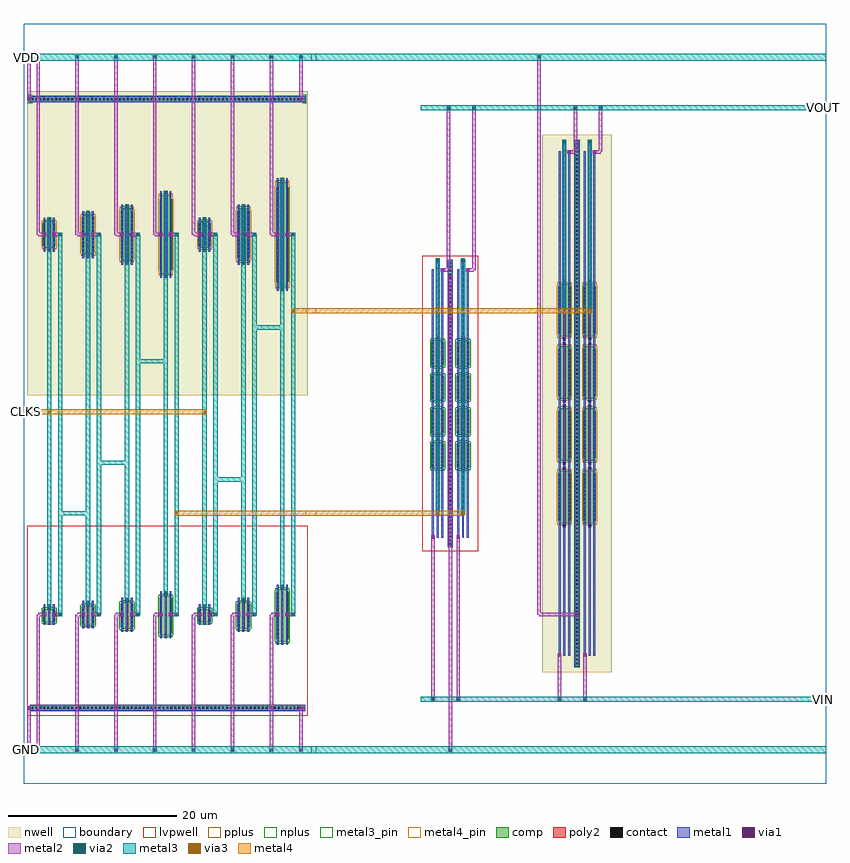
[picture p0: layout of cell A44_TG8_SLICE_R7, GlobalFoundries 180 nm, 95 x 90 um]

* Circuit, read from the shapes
.subckt A44_TG8_SLICE_R7 CLKS GND VDD VIN VOUT
XM1 A44_TG8_CLOCK_LEAF_R7_0/net1 CLKS GND GND nfet_03v3 w=1.56u l=0.28u
XM2 A44_TG8_CLOCK_LEAF_R7_0/net2 A44_TG8_CLOCK_LEAF_R7_0/net1 GND GND nfet_03v3 w=2.34u l=0.28u
XM3 A44_TG8_CLOCK_LEAF_R7_0/net3 A44_TG8_CLOCK_LEAF_R7_0/net2 GND GND nfet_03v3 w=3.11u l=0.28u
XM4 A44_TG8_CLOCK_LEAF_R7_0/N_CLK A44_TG8_CLOCK_LEAF_R7_0/net3 GND GND nfet_03v3 w=4.67u l=0.28u
XM5 A44_TG8_CLOCK_LEAF_R7_0/net4 CLKS GND GND nfet_03v3 w=1.56u l=0.28u
XM6 A44_TG8_CLOCK_LEAF_R7_0/net5 A44_TG8_CLOCK_LEAF_R7_0/net4 GND GND nfet_03v3 w=3.11u l=0.28u
XM7 A44_TG8_CLOCK_LEAF_R7_0/P_CLK A44_TG8_CLOCK_LEAF_R7_0/net5 GND GND nfet_03v3 w=6.22u l=0.28u
XM8 VOUT A44_TG8_CLOCK_LEAF_R7_0/N_CLK VIN GND nfet_03v3 w=3.11u l=0.28u m=8
XM9 A44_TG8_CLOCK_LEAF_R7_0/net1 CLKS VDD VDD pfet_03v3 w=3.11u l=0.28u
XM10 A44_TG8_CLOCK_LEAF_R7_0/net2 A44_TG8_CLOCK_LEAF_R7_0/net1 VDD VDD pfet_03v3 w=4.67u l=0.28u
XM11 A44_TG8_CLOCK_LEAF_R7_0/net3 A44_TG8_CLOCK_LEAF_R7_0/net2 VDD VDD pfet_03v3 w=6.22u l=0.28u
XM12 A44_TG8_CLOCK_LEAF_R7_0/N_CLK A44_TG8_CLOCK_LEAF_R7_0/net3 VDD VDD pfet_03v3 w=9.33u l=0.28u
XM13 A44_TG8_CLOCK_LEAF_R7_0/net4 CLKS VDD VDD pfet_03v3 w=3.11u l=0.28u
XM14 A44_TG8_CLOCK_LEAF_R7_0/net5 A44_TG8_CLOCK_LEAF_R7_0/net4 VDD VDD pfet_03v3 w=6.22u l=0.28u
XM15 A44_TG8_CLOCK_LEAF_R7_0/P_CLK A44_TG8_CLOCK_LEAF_R7_0/net5 VDD VDD pfet_03v3 w=12.44u l=0.28u
XM16 VOUT A44_TG8_CLOCK_LEAF_R7_0/P_CLK VIN VDD pfet_03v3 w=6.22u l=0.28u m=8
.ends

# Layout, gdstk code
import gdstk
lib = gdstk.Library(unit=1e-6, precision=1e-09)
def R(c, l, rs):  # rectangles x0, y0, x1, y1
    for r in rs: c.add(gdstk.rectangle(r[:2], r[2:], *l))
def A(c, l, x, y, w, h, nx, ny, dx, dy):  # array of equal rectangles
    R(c, l, [(x+i*dx, y+j*dy, x+i*dx+w, y+j*dy+h) for i in range(nx) for j in range(ny)])
boundary = (0, 0)
nwell = (21, 0)
comp = (22, 0)
poly2 = (30, 0)
pplus = (31, 0)
nplus = (32, 0)
contact = (33, 0)
metal1 = (34, 0)
via1 = (35, 0)
metal2 = (36, 0)
via2 = (38, 0)
via3 = (40, 0)
metal3 = (42, 0)
metal3_pin = (42, 10)
metal4 = (46, 0)
metal4_pin = (46, 10)
lvpwell = (204, 0)

nfet_03v3_e6gd2a = lib.new_cell('nfet_03v3_E6GD2A')
R(nfet_03v3_e6gd2a, comp, [(-0.675,-0.9,0.675,-0.83), (-0.74,-0.83,0.74,0.59), (-0.675,0.59,0.675,0.66)])
R(nfet_03v3_e6gd2a, poly2, [(-0.14,-1.12,0.14,0.76), (-0.18,0.76,0.18,1.12)])
R(nfet_03v3_e6gd2a, nplus, [(-0.37,-1.13,0.37,-1.06), (-0.835,-1.06,0.835,-0.99), (-0.9,-0.99,0.9,0.75), (-0.835,0.75,0.835,0.82), (-0.37,0.82,0.37,0.89)])
A(nfet_03v3_e6gd2a, contact, -0.67, -0.7, 0.22, 0.22, 1, 3, 0, 0.47)
A(nfet_03v3_e6gd2a, contact, 0.45, -0.7, 0.22, 0.22, 1, 3, 0, 0.47)
R(nfet_03v3_e6gd2a, contact, [(-0.11,0.83,0.11,1.05)])
R(nfet_03v3_e6gd2a, metal1, [(-0.675,-0.82,-0.445,0.58), (0.445,-0.82,0.675,0.58), (-0.17,0.825,0.17,1.055)])
R(nfet_03v3_e6gd2a, lvpwell, [(-0.86,-1.24,0.86,1.24)])

nfet_03v3_vfkxem = lib.new_cell('nfet_03v3_VFKXEM')
R(nfet_03v3_vfkxem, comp, [(-0.675,-1.675,0.675,-1.525), (-0.74,-1.525,0.74,1.285), (-0.675,1.285,0.675,1.435)])
R(nfet_03v3_vfkxem, poly2, [(-0.14,-1.895,0.14,1.535), (-0.18,1.535,0.18,1.895)])
R(nfet_03v3_vfkxem, nplus, [(-0.37,-1.905,0.37,-1.835), (-0.835,-1.835,0.835,-1.685), (-0.9,-1.685,0.9,1.445), (-0.835,1.445,0.835,1.595), (-0.37,1.595,0.37,1.665)])
A(nfet_03v3_vfkxem, contact, -0.67, -1.405, 0.22, 0.22, 1, 6, 0, 0.47)
A(nfet_03v3_vfkxem, contact, 0.45, -1.405, 0.22, 0.22, 1, 6, 0, 0.47)
R(nfet_03v3_vfkxem, contact, [(-0.11,1.605,0.11,1.825)])
R(nfet_03v3_vfkxem, metal1, [(-0.675,-1.515,-0.445,1.275), (0.445,-1.515,0.675,1.275), (-0.17,1.6,0.17,1.83)])
R(nfet_03v3_vfkxem, lvpwell, [(-0.86,-2.015,0.86,2.015)])

nfet_03v3_6lx9qf = lib.new_cell('nfet_03v3_6LX9QF')
R(nfet_03v3_6lx9qf, comp, [(-0.675,-3.23,0.675,-2.925), (-0.675,-3.23,0.675,-2.925), (-0.74,-2.925,0.74,2.685), (-0.74,-2.925,0.74,2.685), (-0.675,2.685,0.675,2.99), (-0.675,2.685,0.675,2.99)])
R(nfet_03v3_6lx9qf, poly2, [(-0.14,-3.45,0.14,3.09), (-0.14,-3.45,0.14,3.09), (-0.18,3.09,0.18,3.45), (-0.18,3.09,0.18,3.45)])
R(nfet_03v3_6lx9qf, nplus, [(-0.37,-3.46,0.37,-3.39), (-0.37,-3.46,0.37,-3.39), (-0.835,-3.39,0.835,-3.085), (-0.835,-3.39,0.835,-3.085), (-0.9,-3.085,0.9,2.845), (-0.9,-3.085,0.9,2.845), (-0.835,2.845,0.835,3.15), (-0.835,2.845,0.835,3.15), (-0.37,3.15,0.37,3.22), (-0.37,3.15,0.37,3.22)])
R(nfet_03v3_6lx9qf, contact, [(-0.67,-2.815,-0.45,-2.595), (-0.67,-2.815,-0.45,-2.595), (0.45,-2.815,0.67,-2.595), (0.45,-2.815,0.67,-2.595), (-0.67,-2.345,-0.45,-2.125), (-0.67,-2.345,-0.45,-2.125), (0.45,-2.345,0.67,-2.125), (0.45,-2.345,0.67,-2.125), (-0.67,-1.875,-0.45,-1.655), (-0.67,-1.875,-0.45,-1.655), (0.45,-1.875,0.67,-1.655), (0.45,-1.875,0.67,-1.655), (-0.67,-1.405,-0.45,-1.185), (-0.67,-1.405,-0.45,-1.185), (0.45,-1.405,0.67,-1.185), (0.45,-1.405,0.67,-1.185), (-0.67,-0.935,-0.45,-0.715), (-0.67,-0.935,-0.45,-0.715), (0.45,-0.935,0.67,-0.715), (0.45,-0.935,0.67,-0.715), (-0.67,-0.465,-0.45,-0.245), (-0.67,-0.465,-0.45,-0.245), (0.45,-0.465,0.67,-0.245), (0.45,-0.465,0.67,-0.245), (-0.67,0.005,-0.45,0.225), (-0.67,0.005,-0.45,0.225), (0.45,0.005,0.67,0.225), (0.45,0.005,0.67,0.225), (-0.67,0.475,-0.45,0.695), (-0.67,0.475,-0.45,0.695), (0.45,0.475,0.67,0.695), (0.45,0.475,0.67,0.695), (-0.67,0.945,-0.45,1.165), (-0.67,0.945,-0.45,1.165), (0.45,0.945,0.67,1.165), (0.45,0.945,0.67,1.165), (-0.67,1.415,-0.45,1.635), (-0.67,1.415,-0.45,1.635), (0.45,1.415,0.67,1.635), (0.45,1.415,0.67,1.635), (-0.67,1.885,-0.45,2.105), (-0.67,1.885,-0.45,2.105), (0.45,1.885,0.67,2.105), (0.45,1.885,0.67,2.105), (-0.67,2.355,-0.45,2.575), (-0.67,2.355,-0.45,2.575), (0.45,2.355,0.67,2.575), (0.45,2.355,0.67,2.575), (-0.11,3.16,0.11,3.38), (-0.11,3.16,0.11,3.38)])
R(nfet_03v3_6lx9qf, metal1, [(-0.675,-2.915,-0.445,2.675), (-0.675,-2.915,-0.445,2.675), (0.445,-2.915,0.675,2.675), (0.445,-2.915,0.675,2.675), (-0.17,3.155,0.17,3.385), (-0.17,3.155,0.17,3.385)])
R(nfet_03v3_6lx9qf, lvpwell, [(-0.86,-3.57,0.86,3.57), (-0.86,-3.57,0.86,3.57)])

nfet_03v3_w4ua4g = lib.new_cell('nfet_03v3_W4UA4G')
R(nfet_03v3_w4ua4g, comp, [(-0.675,-2.455,0.675,-2.23), (-0.74,-2.23,0.74,1.99), (-0.675,1.99,0.675,2.215)])
R(nfet_03v3_w4ua4g, poly2, [(-0.14,-2.675,0.14,2.315), (-0.18,2.315,0.18,2.675)])
R(nfet_03v3_w4ua4g, nplus, [(-0.37,-2.685,0.37,-2.615), (-0.835,-2.615,0.835,-2.39), (-0.9,-2.39,0.9,2.15), (-0.835,2.15,0.835,2.375), (-0.37,2.375,0.37,2.445)])
A(nfet_03v3_w4ua4g, contact, -0.67, -2.11, 0.22, 0.22, 1, 9, 0, 0.47)
A(nfet_03v3_w4ua4g, contact, 0.45, -2.11, 0.22, 0.22, 1, 9, 0, 0.47)
R(nfet_03v3_w4ua4g, contact, [(-0.11,2.385,0.11,2.605)])
R(nfet_03v3_w4ua4g, metal1, [(-0.675,-2.22,-0.445,1.98), (0.445,-2.22,0.675,1.98), (-0.17,2.38,0.17,2.61)])
R(nfet_03v3_w4ua4g, lvpwell, [(-0.86,-2.795,0.86,2.795)])

nfet_03v3_whe5hu = lib.new_cell('nfet_03v3_WHE5HU')
R(nfet_03v3_whe5hu, comp, [(-0.675,-1.29,0.675,-1.18), (-0.675,-1.29,0.675,-1.18), (-0.74,-1.18,0.74,0.94), (-0.74,-1.18,0.74,0.94), (-0.675,0.94,0.675,1.05), (-0.675,0.94,0.675,1.05)])
R(nfet_03v3_whe5hu, poly2, [(-0.14,-1.51,0.14,1.15), (-0.14,-1.51,0.14,1.15), (-0.18,1.15,0.18,1.51), (-0.18,1.15,0.18,1.51)])
R(nfet_03v3_whe5hu, nplus, [(-0.37,-1.52,0.37,-1.45), (-0.37,-1.52,0.37,-1.45), (-0.835,-1.45,0.835,-1.34), (-0.835,-1.45,0.835,-1.34), (-0.9,-1.34,0.9,1.1), (-0.9,-1.34,0.9,1.1), (-0.835,1.1,0.835,1.21), (-0.835,1.1,0.835,1.21), (-0.37,1.21,0.37,1.28), (-0.37,1.21,0.37,1.28)])
R(nfet_03v3_whe5hu, contact, [(-0.67,-0.935,-0.45,-0.715), (-0.67,-0.935,-0.45,-0.715), (0.45,-0.935,0.67,-0.715), (0.45,-0.935,0.67,-0.715), (-0.67,-0.465,-0.45,-0.245), (-0.67,-0.465,-0.45,-0.245), (0.45,-0.465,0.67,-0.245), (0.45,-0.465,0.67,-0.245), (-0.67,0.005,-0.45,0.225), (-0.67,0.005,-0.45,0.225), (0.45,0.005,0.67,0.225), (0.45,0.005,0.67,0.225), (-0.67,0.475,-0.45,0.695), (-0.67,0.475,-0.45,0.695), (0.45,0.475,0.67,0.695), (0.45,0.475,0.67,0.695), (-0.11,1.22,0.11,1.44), (-0.11,1.22,0.11,1.44)])
R(nfet_03v3_whe5hu, metal1, [(-0.675,-1.17,-0.445,0.93), (-0.675,-1.17,-0.445,0.93), (0.445,-1.17,0.675,0.93), (0.445,-1.17,0.675,0.93), (-0.17,1.215,0.17,1.445), (-0.17,1.215,0.17,1.445)])
R(nfet_03v3_whe5hu, lvpwell, [(-0.86,-1.63,0.86,1.63), (-0.86,-1.63,0.86,1.63)])

pfet_03v3_8rs7kv = lib.new_cell('pfet_03v3_8RS7KV')
R(pfet_03v3_8rs7kv, nwell, [(-1.17,-7.11,1.17,7.11), (-1.17,-7.11,1.17,7.11)])
R(pfet_03v3_8rs7kv, comp, [(-0.675,-6.22,0.675,-5.605), (-0.675,-6.22,0.675,-5.605), (-0.74,-5.605,0.74,5.605), (-0.74,-5.605,0.74,5.605), (-0.675,5.605,0.675,6.22), (-0.675,5.605,0.675,6.22)])
R(pfet_03v3_8rs7kv, poly2, [(-0.18,-6.68,0.18,-6.32), (-0.18,-6.68,0.18,-6.32), (-0.14,-6.32,0.14,6.32), (-0.14,-6.32,0.14,6.32), (-0.18,6.32,0.18,6.68), (-0.18,6.32,0.18,6.68)])
R(pfet_03v3_8rs7kv, pplus, [(-0.37,-6.45,0.37,-6.38), (-0.37,-6.45,0.37,-6.38), (-0.835,-6.38,0.835,-5.765), (-0.835,-6.38,0.835,-5.765), (-0.9,-5.765,0.9,5.765), (-0.9,-5.765,0.9,5.765), (-0.835,5.765,0.835,6.38), (-0.835,5.765,0.835,6.38), (-0.37,6.38,0.37,6.45), (-0.37,6.38,0.37,6.45)])
R(pfet_03v3_8rs7kv, contact, [(-0.11,-6.61,0.11,-6.39), (-0.11,-6.61,0.11,-6.39), (-0.67,-5.515,-0.45,-5.295), (-0.67,-5.515,-0.45,-5.295), (0.45,-5.515,0.67,-5.295), (0.45,-5.515,0.67,-5.295), (-0.67,-5.045,-0.45,-4.825), (-0.67,-5.045,-0.45,-4.825), (0.45,-5.045,0.67,-4.825), (0.45,-5.045,0.67,-4.825), (-0.67,-4.575,-0.45,-4.355), (-0.67,-4.575,-0.45,-4.355), (0.45,-4.575,0.67,-4.355), (0.45,-4.575,0.67,-4.355), (-0.67,-4.105,-0.45,-3.885), (-0.67,-4.105,-0.45,-3.885), (0.45,-4.105,0.67,-3.885), (0.45,-4.105,0.67,-3.885), (-0.67,-3.635,-0.45,-3.415), (-0.67,-3.635,-0.45,-3.415), (0.45,-3.635,0.67,-3.415), (0.45,-3.635,0.67,-3.415), (-0.67,-3.165,-0.45,-2.945), (-0.67,-3.165,-0.45,-2.945), (0.45,-3.165,0.67,-2.945), (0.45,-3.165,0.67,-2.945), (-0.67,-2.695,-0.45,-2.475), (-0.67,-2.695,-0.45,-2.475), (0.45,-2.695,0.67,-2.475), (0.45,-2.695,0.67,-2.475), (-0.67,-2.225,-0.45,-2.005), (-0.67,-2.225,-0.45,-2.005), (0.45,-2.225,0.67,-2.005), (0.45,-2.225,0.67,-2.005), (-0.67,-1.755,-0.45,-1.535), (-0.67,-1.755,-0.45,-1.535), (0.45,-1.755,0.67,-1.535), (0.45,-1.755,0.67,-1.535), (-0.67,-1.285,-0.45,-1.065), (-0.67,-1.285,-0.45,-1.065), (0.45,-1.285,0.67,-1.065), (0.45,-1.285,0.67,-1.065), (-0.67,-0.815,-0.45,-0.595), (-0.67,-0.815,-0.45,-0.595), (0.45,-0.815,0.67,-0.595), (0.45,-0.815,0.67,-0.595), (-0.67,-0.345,-0.45,-0.125), (-0.67,-0.345,-0.45,-0.125), (0.45,-0.345,0.67,-0.125), (0.45,-0.345,0.67,-0.125), (-0.67,0.125,-0.45,0.345), (-0.67,0.125,-0.45,0.345), (0.45,0.125,0.67,0.345), (0.45,0.125,0.67,0.345), (-0.67,0.595,-0.45,0.815), (-0.67,0.595,-0.45,0.815), (0.45,0.595,0.67,0.815), (0.45,0.595,0.67,0.815), (-0.67,1.065,-0.45,1.285), (-0.67,1.065,-0.45,1.285), (0.45,1.065,0.67,1.285), (0.45,1.065,0.67,1.285), (-0.67,1.535,-0.45,1.755), (-0.67,1.535,-0.45,1.755), (0.45,1.535,0.67,1.755), (0.45,1.535,0.67,1.755), (-0.67,2.005,-0.45,2.225), (-0.67,2.005,-0.45,2.225), (0.45,2.005,0.67,2.225), (0.45,2.005,0.67,2.225), (-0.67,2.475,-0.45,2.695), (-0.67,2.475,-0.45,2.695), (0.45,2.475,0.67,2.695), (0.45,2.475,0.67,2.695), (-0.67,2.945,-0.45,3.165), (-0.67,2.945,-0.45,3.165), (0.45,2.945,0.67,3.165), (0.45,2.945,0.67,3.165), (-0.67,3.415,-0.45,3.635), (-0.67,3.415,-0.45,3.635), (0.45,3.415,0.67,3.635), (0.45,3.415,0.67,3.635), (-0.67,3.885,-0.45,4.105), (-0.67,3.885,-0.45,4.105), (0.45,3.885,0.67,4.105), (0.45,3.885,0.67,4.105), (-0.67,4.355,-0.45,4.575), (-0.67,4.355,-0.45,4.575), (0.45,4.355,0.67,4.575), (0.45,4.355,0.67,4.575), (-0.67,4.825,-0.45,5.045), (-0.67,4.825,-0.45,5.045), (0.45,4.825,0.67,5.045), (0.45,4.825,0.67,5.045), (-0.67,5.295,-0.45,5.515), (-0.67,5.295,-0.45,5.515), (0.45,5.295,0.67,5.515), (0.45,5.295,0.67,5.515), (-0.11,6.39,0.11,6.61), (-0.11,6.39,0.11,6.61)])
R(pfet_03v3_8rs7kv, metal1, [(-0.17,-6.615,0.17,-6.385), (-0.17,-6.615,0.17,-6.385), (-0.675,-5.595,-0.445,5.595), (-0.675,-5.595,-0.445,5.595), (0.445,-5.595,0.675,5.595), (0.445,-5.595,0.675,5.595), (-0.17,6.385,0.17,6.615), (-0.17,6.385,0.17,6.615)])

pfet_03v3_ru7dmy = lib.new_cell('pfet_03v3_RU7DMY')
R(pfet_03v3_ru7dmy, nwell, [(-1.17,-2.445,1.17,2.445)])
R(pfet_03v3_ru7dmy, comp, [(-0.675,-1.555,0.675,-1.405), (-0.74,-1.405,0.74,1.405), (-0.675,1.405,0.675,1.555)])
R(pfet_03v3_ru7dmy, poly2, [(-0.18,-2.015,0.18,-1.655), (-0.14,-1.655,0.14,1.655), (-0.18,1.655,0.18,2.015)])
R(pfet_03v3_ru7dmy, pplus, [(-0.37,-1.785,0.37,-1.715), (-0.835,-1.715,0.835,-1.565), (-0.9,-1.565,0.9,1.565), (-0.835,1.565,0.835,1.715), (-0.37,1.715,0.37,1.785)])
A(pfet_03v3_ru7dmy, contact, -0.67, -1.285, 0.22, 0.22, 1, 6, 0, 0.47)
A(pfet_03v3_ru7dmy, contact, 0.45, -1.285, 0.22, 0.22, 1, 6, 0, 0.47)
R(pfet_03v3_ru7dmy, contact, [(-0.11,-1.945,0.11,-1.725), (-0.11,1.725,0.11,1.945)])
R(pfet_03v3_ru7dmy, metal1, [(-0.17,-1.95,0.17,-1.72), (-0.675,-1.395,-0.445,1.395), (0.445,-1.395,0.675,1.395), (-0.17,1.72,0.17,1.95)])

pfet_03v3_9zjpmw = lib.new_cell('pfet_03v3_9ZJPMW')
R(pfet_03v3_9zjpmw, nwell, [(-1.17,-4,1.17,4)])
R(pfet_03v3_9zjpmw, comp, [(-0.675,-3.11,0.675,-2.805), (-0.74,-2.805,0.74,2.805), (-0.675,2.805,0.675,3.11)])
R(pfet_03v3_9zjpmw, poly2, [(-0.18,-3.57,0.18,-3.21), (-0.14,-3.21,0.14,3.21), (-0.18,3.21,0.18,3.57)])
R(pfet_03v3_9zjpmw, pplus, [(-0.37,-3.34,0.37,-3.27), (-0.835,-3.27,0.835,-2.965), (-0.9,-2.965,0.9,2.965), (-0.835,2.965,0.835,3.27), (-0.37,3.27,0.37,3.34)])
A(pfet_03v3_9zjpmw, contact, -0.67, -2.695, 0.22, 0.22, 1, 12, 0, 0.47)
A(pfet_03v3_9zjpmw, contact, 0.45, -2.695, 0.22, 0.22, 1, 12, 0, 0.47)
R(pfet_03v3_9zjpmw, contact, [(-0.11,-3.5,0.11,-3.28), (-0.11,3.28,0.11,3.5)])
R(pfet_03v3_9zjpmw, metal1, [(-0.17,-3.505,0.17,-3.275), (-0.675,-2.795,-0.445,2.795), (0.445,-2.795,0.675,2.795), (-0.17,3.275,0.17,3.505)])

pfet_03v3_53fb9w = lib.new_cell('pfet_03v3_53FB9W')
R(pfet_03v3_53fb9w, nwell, [(-1.17,-5.555,1.17,5.555)])
R(pfet_03v3_53fb9w, comp, [(-0.675,-4.665,0.675,-4.205), (-0.74,-4.205,0.74,4.205), (-0.675,4.205,0.675,4.665)])
R(pfet_03v3_53fb9w, poly2, [(-0.18,-5.125,0.18,-4.765), (-0.14,-4.765,0.14,4.765), (-0.18,4.765,0.18,5.125)])
R(pfet_03v3_53fb9w, pplus, [(-0.37,-4.895,0.37,-4.825), (-0.835,-4.825,0.835,-4.365), (-0.9,-4.365,0.9,4.365), (-0.835,4.365,0.835,4.825), (-0.37,4.825,0.37,4.895)])
A(pfet_03v3_53fb9w, contact, -0.67, -4.105, 0.22, 0.22, 1, 18, 0, 0.47)
A(pfet_03v3_53fb9w, contact, 0.45, -4.105, 0.22, 0.22, 1, 18, 0, 0.47)
R(pfet_03v3_53fb9w, contact, [(-0.11,-5.055,0.11,-4.835), (-0.11,4.835,0.11,5.055)])
R(pfet_03v3_53fb9w, metal1, [(-0.17,-5.06,0.17,-4.83), (-0.675,-4.195,-0.445,4.195), (0.445,-4.195,0.675,4.195), (-0.17,4.83,0.17,5.06)])

pfet_03v3_gxth48 = lib.new_cell('pfet_03v3_GXTH48')
R(pfet_03v3_gxth48, nwell, [(-1.17,-3.225,1.17,3.225), (-1.17,-3.225,1.17,3.225)])
R(pfet_03v3_gxth48, comp, [(-0.675,-2.335,0.675,-2.11), (-0.675,-2.335,0.675,-2.11), (-0.74,-2.11,0.74,2.11), (-0.74,-2.11,0.74,2.11), (-0.675,2.11,0.675,2.335), (-0.675,2.11,0.675,2.335)])
R(pfet_03v3_gxth48, poly2, [(-0.18,-2.795,0.18,-2.435), (-0.18,-2.795,0.18,-2.435), (-0.14,-2.435,0.14,2.435), (-0.14,-2.435,0.14,2.435), (-0.18,2.435,0.18,2.795), (-0.18,2.435,0.18,2.795)])
R(pfet_03v3_gxth48, pplus, [(-0.37,-2.565,0.37,-2.495), (-0.37,-2.565,0.37,-2.495), (-0.835,-2.495,0.835,-2.27), (-0.835,-2.495,0.835,-2.27), (-0.9,-2.27,0.9,2.27), (-0.9,-2.27,0.9,2.27), (-0.835,2.27,0.835,2.495), (-0.835,2.27,0.835,2.495), (-0.37,2.495,0.37,2.565), (-0.37,2.495,0.37,2.565)])
R(pfet_03v3_gxth48, contact, [(-0.11,-2.725,0.11,-2.505), (-0.11,-2.725,0.11,-2.505), (-0.67,-1.99,-0.45,-1.77), (-0.67,-1.99,-0.45,-1.77), (0.45,-1.99,0.67,-1.77), (0.45,-1.99,0.67,-1.77), (-0.67,-1.52,-0.45,-1.3), (-0.67,-1.52,-0.45,-1.3), (0.45,-1.52,0.67,-1.3), (0.45,-1.52,0.67,-1.3), (-0.67,-1.05,-0.45,-0.83), (-0.67,-1.05,-0.45,-0.83), (0.45,-1.05,0.67,-0.83), (0.45,-1.05,0.67,-0.83), (-0.67,-0.58,-0.45,-0.36), (-0.67,-0.58,-0.45,-0.36), (0.45,-0.58,0.67,-0.36), (0.45,-0.58,0.67,-0.36), (-0.67,-0.11,-0.45,0.11), (-0.67,-0.11,-0.45,0.11), (0.45,-0.11,0.67,0.11), (0.45,-0.11,0.67,0.11), (-0.67,0.36,-0.45,0.58), (-0.67,0.36,-0.45,0.58), (0.45,0.36,0.67,0.58), (0.45,0.36,0.67,0.58), (-0.67,0.83,-0.45,1.05), (-0.67,0.83,-0.45,1.05), (0.45,0.83,0.67,1.05), (0.45,0.83,0.67,1.05), (-0.67,1.3,-0.45,1.52), (-0.67,1.3,-0.45,1.52), (0.45,1.3,0.67,1.52), (0.45,1.3,0.67,1.52), (-0.67,1.77,-0.45,1.99), (-0.67,1.77,-0.45,1.99), (0.45,1.77,0.67,1.99), (0.45,1.77,0.67,1.99), (-0.11,2.505,0.11,2.725), (-0.11,2.505,0.11,2.725)])
R(pfet_03v3_gxth48, metal1, [(-0.17,-2.73,0.17,-2.5), (-0.17,-2.73,0.17,-2.5), (-0.675,-2.1,-0.445,2.1), (-0.675,-2.1,-0.445,2.1), (0.445,-2.1,0.675,2.1), (0.445,-2.1,0.675,2.1), (-0.17,2.5,0.17,2.73), (-0.17,2.5,0.17,2.73)])

a44_tg8_clock_leaf_r7 = lib.new_cell('A44_TG8_CLOCK_LEAF_R7')
R(a44_tg8_clock_leaf_r7, boundary, [(0,0,34,90)])
R(a44_tg8_clock_leaf_r7, nwell, [(0.4,46,33.6,82)])
R(a44_tg8_clock_leaf_r7, comp, [(0.7,8.6,33.3,9.3), (0.7,80.7,33.3,81.4)])
R(a44_tg8_clock_leaf_r7, pplus, [(0.675,8.575,33.325,9.325)])
R(a44_tg8_clock_leaf_r7, nplus, [(0.54,80.54,0.99,80.675), (33.01,80.54,33.46,80.675), (0.54,80.675,33.46,81.425), (0.54,81.425,0.99,81.56), (33.01,81.425,33.46,81.56)])
A(a44_tg8_clock_leaf_r7, contact, 0.91, 8.84, 0.22, 0.22, 69, 2, 0.47, 72.1)
R(a44_tg8_clock_leaf_r7, metal1, [(0.7,8.6,33.3,8.75), (0.4,8.75,33.3,9.15), (0.7,9.15,33.3,9.3), (29.925,16.44,30.155,19.8), (30.485,16.44,30.715,23.07), (31.045,16.44,31.275,19.8), (16.125,17.215,16.355,19.8), (16.685,17.215,16.915,22.295), (17.245,17.215,17.475,19.8), (11.525,17.995,11.755,19.8), (12.085,17.995,12.315,21.515), (12.645,17.995,12.875,19.8), (25.325,17.995,25.555,19.8), (25.885,17.995,26.115,21.515), (26.445,17.995,26.675,19.8), (6.925,18.38,7.155,19.8), (7.485,18.38,7.715,21.13), (8.045,18.38,8.275,19.8), (2.325,18.77,2.555,19.8), (2.885,18.77,3.115,20.74), (3.445,18.77,3.675,19.8), (20.725,18.77,20.955,19.8), (21.285,18.77,21.515,20.74), (21.845,18.77,22.075,19.8), (2.24,19.8,2.64,20.2), (3.36,19.8,3.76,20.2), (6.84,19.8,7.24,20.2), (7.96,19.8,8.36,20.2), (11.44,19.8,11.84,20.2), (12.56,19.8,12.96,20.2), (16.04,19.8,16.44,20.2), (17.16,19.8,17.56,20.2), (20.64,19.8,21.04,20.2), (21.76,19.8,22.16,20.2), (25.24,19.8,25.64,20.2), (26.36,19.8,26.76,20.2), (29.84,19.8,30.24,20.2), (30.96,19.8,31.36,20.2), (2.325,20.2,2.555,21.23), (3.445,20.2,3.675,21.23), (6.925,20.2,7.155,21.62), (8.045,20.2,8.275,21.62), (11.525,20.2,11.755,22.005), (12.645,20.2,12.875,22.005), (16.125,20.2,16.355,22.785), (17.245,20.2,17.475,22.785), (20.725,20.2,20.955,21.23), (21.845,20.2,22.075,21.23), (25.325,20.2,25.555,22.005), (26.445,20.2,26.675,22.005), (29.925,20.2,30.155,23.56), (31.045,20.2,31.275,23.56), (2.8,20.74,3.2,21.14), (21.2,20.74,21.6,21.14), (7.4,21.13,7.8,21.53), (2.885,21.14,3.115,21.23), (21.285,21.14,21.515,21.23), (12,21.515,12.4,21.915), (25.8,21.515,26.2,21.915), (7.485,21.53,7.715,21.62), (12.085,21.915,12.315,22.005), (25.885,21.915,26.115,22.005), (16.6,22.295,17,22.695), (16.685,22.695,16.915,22.785), (30.4,23.07,30.8,23.47), (30.485,23.47,30.715,23.56), (29.925,58.33,30.155,64.8), (30.485,58.33,30.715,71.3), (31.045,58.33,31.275,64.8), (16.125,59.885,16.355,64.8), (16.685,59.885,16.915,69.745), (17.245,59.885,17.475,64.8), (11.525,61.44,11.755,64.8), (12.085,61.44,12.315,68.19), (12.645,61.44,12.875,64.8), (25.325,61.44,25.555,64.8), (25.885,61.44,26.115,68.19), (26.445,61.44,26.675,64.8), (6.925,62.215,7.155,64.8), (7.485,62.215,7.715,67.415), (8.045,62.215,8.275,64.8), (2.325,62.995,2.555,64.8), (2.885,62.995,3.115,66.635), (3.445,62.995,3.675,64.8), (20.725,62.995,20.955,64.8), (21.285,62.995,21.515,66.635), (21.845,62.995,22.075,64.8), (2.24,64.8,2.64,65.2), (3.36,64.8,3.76,65.2), (6.84,64.8,7.24,65.2), (7.96,64.8,8.36,65.2), (11.44,64.8,11.84,65.2), (12.56,64.8,12.96,65.2), (16.04,64.8,16.44,65.2), (17.16,64.8,17.56,65.2), (20.64,64.8,21.04,65.2), (21.76,64.8,22.16,65.2), (25.24,64.8,25.64,65.2), (26.36,64.8,26.76,65.2), (29.84,64.8,30.24,65.2), (30.96,64.8,31.36,65.2), (2.325,65.2,2.555,67.005), (3.445,65.2,3.675,67.005), (6.925,65.2,7.155,67.785), (8.045,65.2,8.275,67.785), (11.525,65.2,11.755,68.56), (12.645,65.2,12.875,68.56), (16.125,65.2,16.355,70.115), (17.245,65.2,17.475,70.115), (20.725,65.2,20.955,67.005), (21.845,65.2,22.075,67.005), (25.325,65.2,25.555,68.56), (26.445,65.2,26.675,68.56), (29.925,65.2,30.155,71.67), (31.045,65.2,31.275,71.67), (2.8,66.635,3.2,67.035), (21.2,66.635,21.6,67.035), (7.4,67.415,7.8,67.815), (12,68.19,12.4,68.59), (25.8,68.19,26.2,68.59), (16.6,69.745,17,70.145), (30.4,71.3,30.8,71.7), (0.7,80.7,33.3,80.85), (0.4,80.85,33.3,81.25), (0.7,81.25,33.3,81.4)])
R(a44_tg8_clock_leaf_r7, via1, [(0.47,8.82,0.73,9.08), (32.67,8.82,32.93,9.08), (2.31,19.87,2.57,20.13), (3.43,19.87,3.69,20.13), (6.91,19.87,7.17,20.13), (8.03,19.87,8.29,20.13), (11.51,19.87,11.77,20.13), (12.63,19.87,12.89,20.13), (16.11,19.87,16.37,20.13), (17.23,19.87,17.49,20.13), (20.71,19.87,20.97,20.13), (21.83,19.87,22.09,20.13), (25.31,19.87,25.57,20.13), (26.43,19.87,26.69,20.13), (29.91,19.87,30.17,20.13), (31.03,19.87,31.29,20.13), (2.87,20.81,3.13,21.07), (21.27,20.81,21.53,21.07), (7.47,21.2,7.73,21.46), (12.07,21.585,12.33,21.845), (25.87,21.585,26.13,21.845), (16.67,22.365,16.93,22.625), (30.47,23.14,30.73,23.4), (2.31,64.87,2.57,65.13), (3.43,64.87,3.69,65.13), (6.91,64.87,7.17,65.13), (8.03,64.87,8.29,65.13), (11.51,64.87,11.77,65.13), (12.63,64.87,12.89,65.13), (16.11,64.87,16.37,65.13), (17.23,64.87,17.49,65.13), (20.71,64.87,20.97,65.13), (21.83,64.87,22.09,65.13), (25.31,64.87,25.57,65.13), (26.43,64.87,26.69,65.13), (29.91,64.87,30.17,65.13), (31.03,64.87,31.29,65.13), (2.87,66.705,3.13,66.965), (21.27,66.705,21.53,66.965), (7.47,67.485,7.73,67.745), (12.07,68.26,12.33,68.52), (25.87,68.26,26.13,68.52), (16.67,69.815,16.93,70.075), (30.47,71.37,30.73,71.63), (0.47,80.92,0.73,81.18), (32.67,80.92,32.93,81.18)])
A(a44_tg8_clock_leaf_r7, metal2, 1.48, 3.78, 0.44, 0.44, 7, 2, 4.6, 82)
A(a44_tg8_clock_leaf_r7, metal2, 1.5, 4.22, 0.4, 15.58, 7, 1, 4.6, 0)
A(a44_tg8_clock_leaf_r7, metal2, 4.08, 19.78, 0.44, 0.02, 7, 2, 4.6, 0.42)
A(a44_tg8_clock_leaf_r7, metal2, 1.5, 19.8, 1.14, 0.2, 7, 2, 4.6, 45.2)
A(a44_tg8_clock_leaf_r7, metal2, 3.36, 19.8, 1.16, 0.4, 7, 2, 4.6, 45)
A(a44_tg8_clock_leaf_r7, metal2, 1.7, 20, 0.94, 0.2, 7, 2, 4.6, 44.8)
A(a44_tg8_clock_leaf_r7, metal2, 4.08, 64.78, 0.44, 0.02, 7, 2, 4.6, 0.42)
A(a44_tg8_clock_leaf_r7, metal2, 1.5, 65.2, 0.4, 20.58, 7, 1, 4.6, 0)
R(a44_tg8_clock_leaf_r7, metal2, [(0.38,3.78,0.82,4.22), (32.58,3.78,33.02,4.22), (0.4,4.22,0.8,9.15), (32.6,4.22,33,9.15), (2.78,20.72,3.22,21.16), (21.18,20.72,21.62,21.16), (7.38,21.11,7.82,21.55), (11.98,21.495,12.42,21.935), (25.78,21.495,26.22,21.935), (16.58,22.275,17.02,22.715), (30.38,23.05,30.82,23.49), (2.78,66.615,3.22,67.055), (21.18,66.615,21.62,67.055), (7.38,67.395,7.82,67.835), (11.98,68.17,12.42,68.61), (25.78,68.17,26.22,68.61), (16.58,69.725,17.02,70.165), (30.38,71.28,30.82,71.72), (0.4,80.85,0.8,85.78), (32.6,80.85,33,85.78), (0.38,85.78,0.82,86.22), (32.58,85.78,33.02,86.22)])
A(a44_tg8_clock_leaf_r7, via2, 1.57, 3.87, 0.26, 0.26, 7, 2, 4.6, 82)
A(a44_tg8_clock_leaf_r7, via2, 4.17, 19.87, 0.26, 0.26, 7, 2, 4.6, 45)
R(a44_tg8_clock_leaf_r7, via2, [(0.47,3.87,0.73,4.13), (32.67,3.87,32.93,4.13), (2.87,20.81,3.13,21.07), (21.27,20.81,21.53,21.07), (7.47,21.2,7.73,21.46), (12.07,21.585,12.33,21.845), (25.87,21.585,26.13,21.845), (16.67,22.365,16.93,22.625), (30.47,23.14,30.73,23.4), (2.87,66.705,3.13,66.965), (21.27,66.705,21.53,66.965), (7.47,67.485,7.73,67.745), (12.07,68.26,12.33,68.52), (25.87,68.26,26.13,68.52), (16.67,69.815,16.93,70.075), (30.47,71.37,30.73,71.63), (0.47,85.87,0.73,86.13), (32.67,85.87,32.93,86.13)])
R(a44_tg8_clock_leaf_r7, via3, [(17.97,31.87,18.23,32.13), (2.87,43.87,3.13,44.13), (21.27,43.87,21.53,44.13), (31.77,55.87,32.03,56.13)])
A(a44_tg8_clock_leaf_r7, metal3, 4.08, 19.78, 0.44, 0.22, 7, 2, 4.6, 45.22)
R(a44_tg8_clock_leaf_r7, metal3, [(0,3.6,34,4.4), (4.05,20,4.55,31.75), (8.65,20,9.15,37.75), (13.25,20,13.75,49.75), (17.85,20,18.35,65), (22.45,20,22.95,35.75), (27.05,20,27.55,53.75), (31.65,20,32.15,65), (2.78,20.72,3.22,20.94), (21.18,20.72,21.62,20.94), (2.75,20.94,3.25,66.835), (21.15,20.94,21.65,66.835), (7.38,21.11,7.82,21.33), (7.35,21.33,7.85,31.75), (11.98,21.495,12.42,21.715), (25.78,21.495,26.22,21.715), (11.95,21.715,12.45,37.75), (25.75,21.715,26.25,35.75), (16.58,22.275,17.02,22.495), (16.55,22.495,17.05,49.75), (30.38,23.05,30.82,23.27), (30.35,23.27,30.85,53.75), (4.05,31.75,7.85,32.25), (4.05,32.25,4.55,65), (7.35,32.25,7.85,67.615), (22.45,35.75,26.25,36.25), (22.45,36.25,22.95,65), (25.75,36.25,26.25,68.39), (8.65,37.75,12.45,38.25), (8.65,38.25,9.15,65), (11.95,38.25,12.45,68.39), (13.25,49.75,17.05,50.25), (13.25,50.25,13.75,65), (16.55,50.25,17.05,69.945), (27.05,53.75,30.85,54.25), (27.05,54.25,27.55,65), (30.35,54.25,30.85,71.5), (2.78,66.835,3.22,67.055), (21.18,66.835,21.62,67.055), (7.38,67.615,7.82,67.835), (11.98,68.39,12.42,68.61), (25.78,68.39,26.22,68.61), (16.58,69.945,17.02,70.165), (30.38,71.5,30.82,71.72), (0,85.6,34,86.4)])
R(a44_tg8_clock_leaf_r7, metal3_pin, [(0,3.6,0.6,4.4), (0,85.6,0.6,86.4)])
R(a44_tg8_clock_leaf_r7, metal4, [(18.1,31.7,34,31.75), (17.85,31.75,34,32.25), (18.1,32.25,34,32.3), (0,43.7,21.4,43.75), (0,43.75,21.65,44.25), (0,44.25,21.4,44.3), (31.9,55.7,34,55.75), (31.65,55.75,34,56.25), (31.9,56.25,34,56.3)])
R(a44_tg8_clock_leaf_r7, metal4_pin, [(33.4,31.7,34,32.3), (0,43.7,0.6,44.3), (33.4,55.7,34,56.3)])
R(a44_tg8_clock_leaf_r7, lvpwell, [(0.4,8,33.6,30.5)])
a44_tg8_clock_leaf_r7.add(gdstk.Reference(nfet_03v3_e6gd2a, (3,20)))
a44_tg8_clock_leaf_r7.add(gdstk.Reference(nfet_03v3_e6gd2a, (21.4,20)))
a44_tg8_clock_leaf_r7.add(gdstk.Reference(nfet_03v3_vfkxem, (12.2,20)))
a44_tg8_clock_leaf_r7.add(gdstk.Reference(nfet_03v3_vfkxem, (26,20)))
a44_tg8_clock_leaf_r7.add(gdstk.Reference(nfet_03v3_6lx9qf, (30.6,20)))
a44_tg8_clock_leaf_r7.add(gdstk.Reference(nfet_03v3_w4ua4g, (16.8,20)))
a44_tg8_clock_leaf_r7.add(gdstk.Reference(nfet_03v3_whe5hu, (7.6,20)))
a44_tg8_clock_leaf_r7.add(gdstk.Reference(pfet_03v3_8rs7kv, (30.6,65)))
a44_tg8_clock_leaf_r7.add(gdstk.Reference(pfet_03v3_ru7dmy, (3,65)))
a44_tg8_clock_leaf_r7.add(gdstk.Reference(pfet_03v3_ru7dmy, (21.4,65)))
a44_tg8_clock_leaf_r7.add(gdstk.Reference(pfet_03v3_9zjpmw, (12.2,65)))
a44_tg8_clock_leaf_r7.add(gdstk.Reference(pfet_03v3_9zjpmw, (26,65)))
a44_tg8_clock_leaf_r7.add(gdstk.Reference(pfet_03v3_53fb9w, (16.8,65)))
a44_tg8_clock_leaf_r7.add(gdstk.Reference(pfet_03v3_gxth48, (7.6,65)))
a44_tg8_clock_leaf_r7.add(gdstk.Label('net1', (5.95,32), layer=42, texttype=0))
a44_tg8_clock_leaf_r7.add(gdstk.Label('net2', (10.55,38), layer=42, texttype=0))
a44_tg8_clock_leaf_r7.add(gdstk.Label('net3', (15.15,50), layer=42, texttype=0))
a44_tg8_clock_leaf_r7.add(gdstk.Label('net4', (24.35,36), layer=42, texttype=0))
a44_tg8_clock_leaf_r7.add(gdstk.Label('net5', (28.95,54), layer=42, texttype=0))
a44_tg8_clock_leaf_r7.add(gdstk.Label('VDD', (0.3,86), layer=42, texttype=10))
a44_tg8_clock_leaf_r7.add(gdstk.Label('GND', (0.3,4), layer=42, texttype=10))
a44_tg8_clock_leaf_r7.add(gdstk.Label('CLKS', (0.3,44), layer=46, texttype=10))
a44_tg8_clock_leaf_r7.add(gdstk.Label('N_CLK', (33.7,32), layer=46, texttype=10))
a44_tg8_clock_leaf_r7.add(gdstk.Label('P_CLK', (33.7,56), layer=46, texttype=10))

nfet_03v3_sd8hjt = lib.new_cell('nfet_03v3_SD8HJT')
A(nfet_03v3_sd8hjt, comp, -0.74, -7.57, 1.48, 2.81, 1, 4, 0, 4.03)
R(nfet_03v3_sd8hjt, comp, [(-0.675,-7.72,0.675,-7.57), (-0.675,-4.76,0.675,-4.61), (-0.675,-3.69,0.675,-3.54), (-0.675,-0.73,0.675,-0.58), (-0.675,0.34,0.675,0.49), (-0.675,3.3,0.675,3.45), (-0.675,4.37,0.675,4.52), (-0.675,7.33,0.675,7.48)])
A(nfet_03v3_sd8hjt, poly2, -0.14, -7.94, 0.28, 3.43, 1, 4, 0, 4.03)
A(nfet_03v3_sd8hjt, poly2, -0.18, -4.51, 0.36, 0.36, 1, 4, 0, 4.03)
A(nfet_03v3_sd8hjt, nplus, -0.9, -7.73, 1.8, 3.13, 1, 4, 0, 4.03)
R(nfet_03v3_sd8hjt, nplus, [(-0.37,-7.95,0.37,-7.88), (-0.835,-7.88,0.835,-7.73), (-0.835,-4.6,0.835,-4.45), (-0.37,-4.45,0.37,-4.38), (-0.37,-3.92,0.37,-3.85), (-0.835,-3.85,0.835,-3.7), (-0.835,-0.57,0.835,-0.42), (-0.37,-0.42,0.37,-0.35), (-0.37,0.11,0.37,0.18), (-0.835,0.18,0.835,0.33), (-0.835,3.46,0.835,3.61), (-0.37,3.61,0.37,3.68), (-0.37,4.14,0.37,4.21), (-0.835,4.21,0.835,4.36), (-0.835,7.49,0.835,7.64), (-0.37,7.64,0.37,7.71)])
A(nfet_03v3_sd8hjt, contact, -0.67, -7.45, 0.22, 0.22, 1, 6, 0, 0.47)
A(nfet_03v3_sd8hjt, contact, 0.45, -7.45, 0.22, 0.22, 1, 6, 0, 0.47)
A(nfet_03v3_sd8hjt, contact, -0.11, -4.44, 0.22, 0.22, 1, 4, 0, 4.03)
A(nfet_03v3_sd8hjt, contact, -0.67, -3.42, 0.22, 0.22, 1, 6, 0, 0.47)
A(nfet_03v3_sd8hjt, contact, 0.45, -3.42, 0.22, 0.22, 1, 6, 0, 0.47)
A(nfet_03v3_sd8hjt, contact, -0.67, 0.61, 0.22, 0.22, 1, 6, 0, 0.47)
A(nfet_03v3_sd8hjt, contact, 0.45, 0.61, 0.22, 0.22, 1, 6, 0, 0.47)
A(nfet_03v3_sd8hjt, contact, -0.67, 4.64, 0.22, 0.22, 1, 6, 0, 0.47)
A(nfet_03v3_sd8hjt, contact, 0.45, 4.64, 0.22, 0.22, 1, 6, 0, 0.47)
A(nfet_03v3_sd8hjt, metal1, -0.675, -7.56, 0.23, 2.79, 1, 4, 0, 4.03)
A(nfet_03v3_sd8hjt, metal1, 0.445, -7.56, 0.23, 2.79, 1, 4, 0, 4.03)
A(nfet_03v3_sd8hjt, metal1, -0.17, -4.445, 0.34, 0.23, 1, 4, 0, 4.03)
R(nfet_03v3_sd8hjt, lvpwell, [(-0.86,-8.06,0.86,8.06)])

pfet_03v3_c2l3t7 = lib.new_cell('pfet_03v3_C2L3T7')
R(pfet_03v3_c2l3t7, nwell, [(-1.17,-15.07,1.17,15.07)])
A(pfet_03v3_c2l3t7, comp, -0.74, -13.875, 1.48, 5.61, 1, 4, 0, 7.38)
R(pfet_03v3_c2l3t7, comp, [(-0.675,-14.18,0.675,-13.875), (-0.675,-8.265,0.675,-7.96), (-0.675,-6.8,0.675,-6.495), (-0.675,-0.885,0.675,-0.58), (-0.675,0.58,0.675,0.885), (-0.675,6.495,0.675,6.8), (-0.675,7.96,0.675,8.265), (-0.675,13.875,0.675,14.18)])
A(pfet_03v3_c2l3t7, poly2, -0.14, -14.28, 0.28, 6.42, 1, 4, 0, 7.38)
R(pfet_03v3_c2l3t7, poly2, [(-0.18,-14.64,0.18,-14.28), (-0.18,-7.86,0.18,-7.5), (-0.18,-7.26,0.18,-6.9), (-0.18,-0.48,0.18,-0.12), (-0.18,0.12,0.18,0.48), (-0.18,6.9,0.18,7.26), (-0.18,7.5,0.18,7.86), (-0.18,14.28,0.18,14.64)])
A(pfet_03v3_c2l3t7, pplus, -0.9, -14.035, 1.8, 5.93, 1, 4, 0, 7.38)
R(pfet_03v3_c2l3t7, pplus, [(-0.37,-14.41,0.37,-14.34), (-0.835,-14.34,0.835,-14.035), (-0.835,-8.105,0.835,-7.8), (-0.37,-7.8,0.37,-7.73), (-0.37,-7.03,0.37,-6.96), (-0.835,-6.96,0.835,-6.655), (-0.835,-0.725,0.835,-0.42), (-0.37,-0.42,0.37,-0.35), (-0.37,0.35,0.37,0.42), (-0.835,0.42,0.835,0.725), (-0.835,6.655,0.835,6.96), (-0.37,6.96,0.37,7.03), (-0.37,7.73,0.37,7.8), (-0.835,7.8,0.835,8.105), (-0.835,14.035,0.835,14.34), (-0.37,14.34,0.37,14.41)])
A(pfet_03v3_c2l3t7, contact, -0.67, -13.765, 0.22, 0.22, 1, 12, 0, 0.47)
A(pfet_03v3_c2l3t7, contact, 0.45, -13.765, 0.22, 0.22, 1, 12, 0, 0.47)
A(pfet_03v3_c2l3t7, contact, -0.67, -6.385, 0.22, 0.22, 1, 12, 0, 0.47)
A(pfet_03v3_c2l3t7, contact, 0.45, -6.385, 0.22, 0.22, 1, 12, 0, 0.47)
A(pfet_03v3_c2l3t7, contact, -0.67, 0.995, 0.22, 0.22, 1, 12, 0, 0.47)
A(pfet_03v3_c2l3t7, contact, 0.45, 0.995, 0.22, 0.22, 1, 12, 0, 0.47)
A(pfet_03v3_c2l3t7, contact, -0.67, 8.375, 0.22, 0.22, 1, 12, 0, 0.47)
A(pfet_03v3_c2l3t7, contact, 0.45, 8.375, 0.22, 0.22, 1, 12, 0, 0.47)
R(pfet_03v3_c2l3t7, contact, [(-0.11,-14.57,0.11,-14.35), (-0.11,-7.79,0.11,-7.57), (-0.11,-7.19,0.11,-6.97), (-0.11,-0.41,0.11,-0.19), (-0.11,0.19,0.11,0.41), (-0.11,6.97,0.11,7.19), (-0.11,7.57,0.11,7.79), (-0.11,14.35,0.11,14.57)])
A(pfet_03v3_c2l3t7, metal1, -0.675, -13.865, 0.23, 5.59, 1, 4, 0, 7.38)
A(pfet_03v3_c2l3t7, metal1, 0.445, -13.865, 0.23, 5.59, 1, 4, 0, 7.38)
R(pfet_03v3_c2l3t7, metal1, [(-0.17,-14.575,0.17,-14.345), (-0.17,-7.795,0.17,-7.565), (-0.17,-7.195,0.17,-6.965), (-0.17,-0.415,0.17,-0.185), (-0.17,0.185,0.17,0.415), (-0.17,6.965,0.17,7.195), (-0.17,7.565,0.17,7.795), (-0.17,14.345,0.17,14.575)])

a44_tg8_core_r7 = lib.new_cell('A44_TG8_CORE_R7')
R(a44_tg8_core_r7, boundary, [(0,0,61,90)])
R(a44_tg8_core_r7, nwell, [(27.4,13.2,35.6,76.8)])
R(a44_tg8_core_r7, comp, [(31.22,13.8,31.78,76.2), (16.22,28,16.78,62)])
R(a44_tg8_core_r7, pplus, [(16.195,27.975,16.805,62.025)])
R(a44_tg8_core_r7, nplus, [(31.195,13.775,31.805,76.225)])
A(a44_tg8_core_r7, contact, 31.39, 14.105, 0.22, 0.22, 1, 132, 0, 0.47)
A(a44_tg8_core_r7, contact, 16.39, 28.205, 0.22, 0.22, 1, 72, 0, 0.47)
R(a44_tg8_core_r7, metal1, [(31.22,13.8,31.78,76.2), (29.24,15,29.64,15.4), (32.24,15,32.64,15.4), (29.885,15.1,30.115,75.8), (30.445,15.1,30.675,74.6), (32.885,15.1,33.115,75.8), (33.445,15.1,33.675,74.6), (29.325,15.4,29.555,74.9), (32.325,15.4,32.555,74.9), (16.22,28,16.78,62), (14.24,29,14.64,29.4), (17.24,29,17.64,29.4), (14.885,29.1,15.115,61.8), (15.445,29.1,15.675,60.6), (17.885,29.1,18.115,61.8), (18.445,29.1,18.675,60.6), (14.325,29.4,14.555,60.9), (17.325,29.4,17.555,60.9), (15.36,60.6,15.76,61), (18.36,60.6,18.76,61), (14.8,61.8,15.2,62.2), (17.8,61.8,18.2,62.2), (30.36,74.6,30.76,75), (33.36,74.6,33.76,75), (29.8,75.8,30.2,76.2), (32.8,75.8,33.2,76.2)])
R(a44_tg8_core_r7, via1, [(29.31,15.07,29.57,15.33), (32.31,15.07,32.57,15.33), (31.37,19.87,31.63,20.13), (14.31,29.07,14.57,29.33), (17.31,29.07,17.57,29.33), (16.37,59.87,16.63,60.13), (15.43,60.67,15.69,60.93), (18.43,60.67,18.69,60.93), (14.87,61.87,15.13,62.13), (17.87,61.87,18.13,62.13), (30.43,74.67,30.69,74.93), (33.43,74.67,33.69,74.93), (29.87,75.87,30.13,76.13), (32.87,75.87,33.13,76.13)])
R(a44_tg8_core_r7, metal2, [(16.28,3.78,16.72,4.22), (16.3,4.22,16.7,60.2), (14.22,9.78,14.66,10.22), (17.22,9.78,17.66,10.22), (29.22,9.78,29.66,10.22), (32.22,9.78,32.66,10.22), (14.24,10.22,14.64,29.4), (17.24,10.22,17.64,29.4), (29.24,10.22,29.64,15.4), (32.24,10.22,32.64,15.4), (27,19.8,31.7,20), (26.8,20,31.7,20.2), (26.8,20.2,27.2,85.78), (15.36,60.6,16.3,60.8), (18.36,60.6,19.3,60.8), (15.36,60.8,16.5,61), (18.36,60.8,19.5,61), (16.1,61,16.5,79.78), (19.1,61,19.5,79.78), (14.78,61.78,15.22,62.22), (17.78,61.78,18.22,62.22), (30.36,74.6,31.3,74.8), (33.36,74.6,34.3,74.8), (30.36,74.8,31.5,75), (33.36,74.8,34.5,75), (31.1,75,31.5,79.78), (34.1,75,34.5,79.78), (29.78,75.78,30.22,76.22), (32.78,75.78,33.22,76.22), (16.08,79.78,16.52,80.22), (19.08,79.78,19.52,80.22), (31.08,79.78,31.52,80.22), (34.08,79.78,34.52,80.22), (26.78,85.78,27.22,86.22)])
R(a44_tg8_core_r7, via2, [(16.37,3.87,16.63,4.13), (14.31,9.87,14.57,10.13), (17.31,9.87,17.57,10.13), (29.31,9.87,29.57,10.13), (32.31,9.87,32.57,10.13), (14.87,61.87,15.13,62.13), (17.87,61.87,18.13,62.13), (29.87,75.87,30.13,76.13), (32.87,75.87,33.13,76.13), (16.17,79.87,16.43,80.13), (19.17,79.87,19.43,80.13), (31.17,79.87,31.43,80.13), (34.17,79.87,34.43,80.13), (26.87,85.87,27.13,86.13)])
R(a44_tg8_core_r7, via3, [(14.87,31.87,15.13,32.13), (17.87,31.87,18.13,32.13), (29.87,55.87,30.13,56.13), (32.87,55.87,33.13,56.13)])
R(a44_tg8_core_r7, metal3, [(0,3.6,61,4.4), (13,9.7,61,10.3), (14.75,31.75,15.25,62), (17.75,31.75,18.25,62), (29.75,55.75,30.25,76), (32.75,55.75,33.25,76), (14.78,62,15.22,62.22), (17.78,62,18.22,62.22), (29.78,76,30.22,76.22), (32.78,76,33.22,76.22), (13,79.7,61,80.3), (0,85.6,61,86.4)])
R(a44_tg8_core_r7, metal3_pin, [(0,3.6,0.6,4.4), (60.4,9.7,61,10.3), (60.4,79.7,61,80.3), (0,85.6,0.6,86.4)])
R(a44_tg8_core_r7, metal4, [(0,31.7,18,31.75), (0,31.75,18.25,32.25), (0,32.25,18,32.3), (0,55.7,33,55.75), (0,55.75,33.25,56.25), (0,56.25,33,56.3)])
R(a44_tg8_core_r7, metal4_pin, [(0,31.7,0.6,32.3), (0,55.7,0.6,56.3)])
R(a44_tg8_core_r7, lvpwell, [(13.2,27.5,19.8,62.5)])
a44_tg8_core_r7.add(gdstk.Reference(nfet_03v3_sd8hjt, (18,45)))
a44_tg8_core_r7.add(gdstk.Reference(nfet_03v3_sd8hjt, (15,45)))
a44_tg8_core_r7.add(gdstk.Reference(pfet_03v3_c2l3t7, (33,45)))
a44_tg8_core_r7.add(gdstk.Reference(pfet_03v3_c2l3t7, (30,45)))
a44_tg8_core_r7.add(gdstk.Label('VDD', (0.3,86), layer=42, texttype=10))
a44_tg8_core_r7.add(gdstk.Label('GND', (0.3,4), layer=42, texttype=10))
a44_tg8_core_r7.add(gdstk.Label('VOUT', (60.7,80), layer=42, texttype=10))
a44_tg8_core_r7.add(gdstk.Label('VIN', (60.7,10), layer=42, texttype=10))
a44_tg8_core_r7.add(gdstk.Label('N_CLK', (0.3,32), layer=46, texttype=10))
a44_tg8_core_r7.add(gdstk.Label('P_CLK', (0.3,56), layer=46, texttype=10))

a44_tg8_slice_r7 = lib.new_cell('A44_TG8_SLICE_R7')
R(a44_tg8_slice_r7, boundary, [(0,0,95,90)])
R(a44_tg8_slice_r7, metal3, [(0,3.6,0.6,4.4), (94.4,9.7,95,10.3), (94.4,79.7,95,80.3), (0,85.6,0.6,86.4)])
R(a44_tg8_slice_r7, metal3_pin, [(0,3.6,0.6,4.4), (94.4,9.7,95,10.3), (94.4,79.7,95,80.3), (0,85.6,0.6,86.4)])
R(a44_tg8_slice_r7, metal4, [(0,43.7,0.6,44.3)])
R(a44_tg8_slice_r7, metal4_pin, [(0,43.7,0.6,44.3)])
a44_tg8_slice_r7.add(gdstk.Reference(a44_tg8_clock_leaf_r7, (0,0)))
a44_tg8_slice_r7.add(gdstk.Reference(a44_tg8_core_r7, (34,0)))
a44_tg8_slice_r7.add(gdstk.Label('VDD', (0.3,86), layer=42, texttype=10))
a44_tg8_slice_r7.add(gdstk.Label('GND', (0.3,4), layer=42, texttype=10))
a44_tg8_slice_r7.add(gdstk.Label('VOUT', (94.7,80), layer=42, texttype=10))
a44_tg8_slice_r7.add(gdstk.Label('VIN', (94.7,10), layer=42, texttype=10))
a44_tg8_slice_r7.add(gdstk.Label('CLKS', (0.3,44), layer=46, texttype=10))

lib.write_gds('A44_TG8_SLICE_R7.gds')
